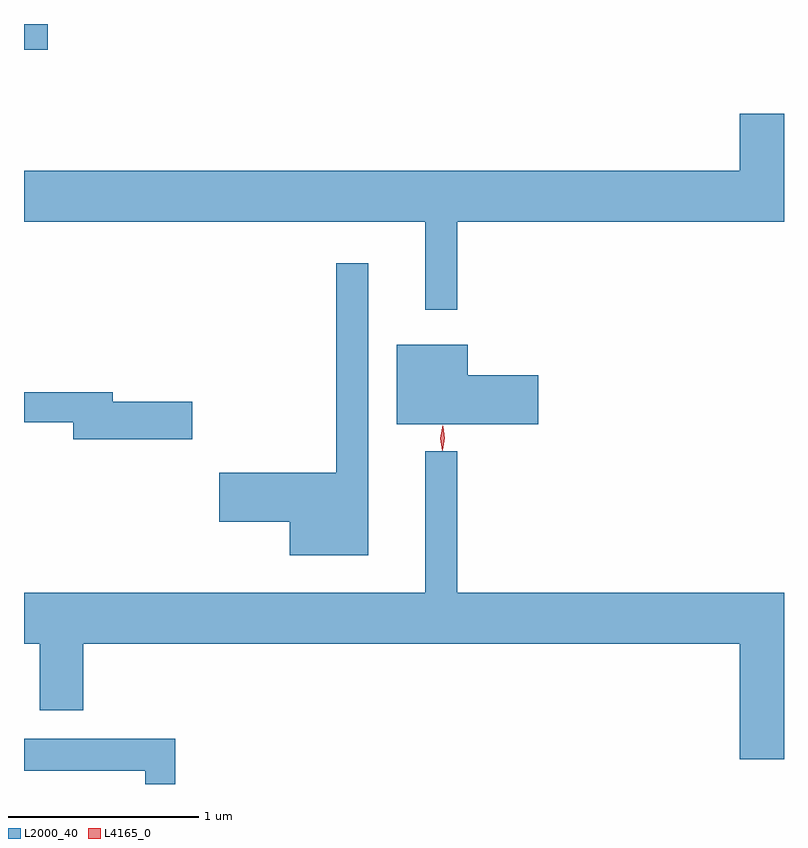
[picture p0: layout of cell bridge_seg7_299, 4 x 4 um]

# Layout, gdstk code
import gdstk
lib = gdstk.Library(unit=1e-6, precision=1e-09)
def R(c, l, rs):  # rectangles x0, y0, x1, y1
    for r in rs: c.add(gdstk.rectangle(r[:2], r[2:], *l))
def P(c, l, *ps):  # polygons
    for p in ps: c.add(gdstk.Polygon(p, *l))
L2000_40 = (2000, 40)
L4165_0 = (4165, 0)

bridge_seg7_299 = lib.new_cell('bridge_seg7_299')
R(bridge_seg7_299, L2000_40, [(1410.108,1792.921,1410.234,1793.057)])
P(bridge_seg7_299, L2000_40, [(1412.389,1792.016),(1414.108,1792.016),(1414.108,1792.584),(1413.876,1792.584),(1413.876,1792.284),(1410.108,1792.284),(1410.108,1792.016),(1412.221,1792.016),(1412.221,1791.553),(1412.389,1791.553)],
  [(1411.919,1791.798),(1411.751,1791.798),(1411.751,1790.694),(1411.136,1790.694),(1411.136,1790.436),(1411.506,1790.436),(1411.506,1790.261),(1411.919,1790.261)],
  [(1412.814,1791.209),(1412.444,1791.209),(1412.444,1791.369),(1412.071,1791.369),(1412.071,1790.951),(1412.814,1790.951)],
  [(1410.994,1791.069),(1410.574,1791.069),(1410.574,1791.119),(1410.108,1791.119),(1410.108,1790.961),(1410.366,1790.961),(1410.366,1790.871),(1410.994,1790.871)],
  [(1414.108,1790.064),(1412.389,1790.064),(1412.389,1790.808),(1412.221,1790.808),(1412.221,1790.064),(1410.108,1790.064),(1410.108,1789.796),(1410.191,1789.796),(1410.191,1789.446),(1410.419,1789.446),(1410.419,1789.796),(1413.876,1789.796),(1413.876,1789.186),(1414.108,1789.186)],
  [(1410.904,1789.294),(1410.108,1789.294),(1410.108,1789.126),(1410.746,1789.126),(1410.746,1789.057),(1410.904,1789.057)])
P(bridge_seg7_299, L4165_0, [(1412.311,1790.813),(1412.303,1790.876),(1412.313,1790.939),(1412.314,1790.94),(1412.314,1790.939),(1412.323,1790.876),(1412.312,1790.813),(1412.312,1790.813)],
  [(1412.309,1790.81),(1412.3,1790.878),(1412.311,1790.945),(1412.311,1790.946),(1412.312,1790.945),(1412.32,1790.878),(1412.31,1790.81),(1412.31,1790.81)])

lib.write_gds('bridge_seg7_299.gds')
